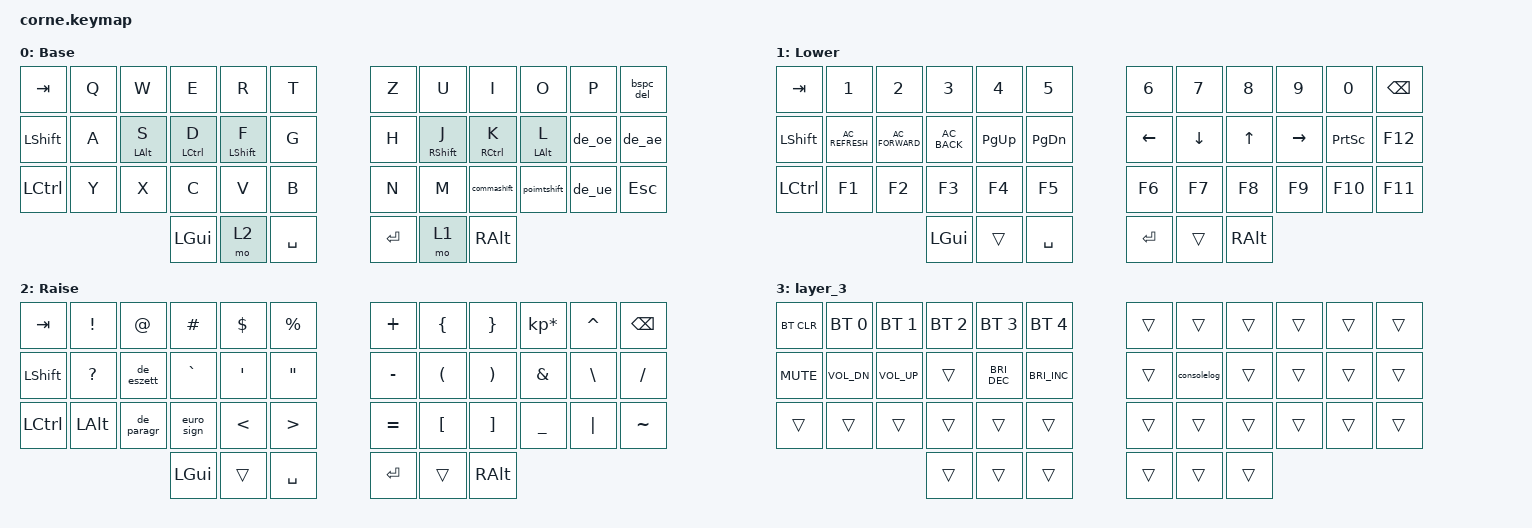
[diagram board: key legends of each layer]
/*
 * Copyright (c) 2020 The ZMK Contributors
 *
 * SPDX-License-Identifier: MIT
 */

#include <behaviors.dtsi>
#include <dt-bindings/zmk/bt.h>
#include <dt-bindings/zmk/keys.h>
#include "../helper.h"
#include "../international_chars/german.dtsi"

// euro sign
ZMK_UNICODE_SINGLE(euro_sign, N2, N0, A, C)  // €


/ {
    combos {
        compatible = "zmk,combos";

        new_combo {
            bindings = <&mo 3>;
            key-positions = <37 40>;
        };
    };

    macros {
        consolelog: consolelog {
            compatible = "zmk,behavior-macro";
            label = "CONSOLELOG";
            #binding-cells = <0>;
            bindings = <&none &kp C &kp O &kp N &kp S &kp O &kp L &kp E &kp DOT &kp L &kp O &kp G &kp LPAR &kp RPAR &kp LEFT>;
        };
    };

    behaviors {
        commashift: comma_shift {
            compatible = "zmk,behavior-mod-morph";
            label = "COMMA_SHIFT";
            #binding-cells = <0>;
            bindings = <&kp COMMA>, <&kp SEMICOLON>;
            mods = <(MOD_LSFT|MOD_RSFT)>;
        };
        poimtshift: point_shift {
            compatible = "zmk,behavior-mod-morph";
            label = "POINT_SHIFT";
            #binding-cells = <0>;
            bindings = <&kp DOT>, <&kp COLON>;
            mods = <(MOD_LSFT|MOD_RSFT)>;
        };
        bspc_del: backspace_delete {
            compatible = "zmk,behavior-mod-morph";
            label = "BACKSPACE_DELETE";
            #binding-cells = <0>;
            bindings = <&kp BACKSPACE>, <&kp DELETE>;
            mods = <(MOD_LSFT|MOD_RSFT)>;
            keep-mods = <(MOD_RSFT)>;
        };
    };

    keymap {
        compatible = "zmk,keymap";

        default_layer {
            // -----------------------------------------------------------------------------------------
            // |  TAB |  Q  |  W  |  E  |  R  |  T  |   |  Z  |  U   |  I  |  O  |  P  | BKSP |
            // | SHFT |  A  |  S  |  D  |  F  |  G  |   |  H  |  J   |  K  |  L  |  Ö  |  Ä   |
            // | CTRL |  Y  |  X  |  C  |  V  |  B  |   |  N  |  M   |  ,  |  .  |  Ü  | ESC  |
            //                    | GUI | LWR | SPC |   | ENT | RSE  | ALT |

            label = "Base";
            bindings = <
         &kp TAB  &kp Q  &kp W              &kp E                 &kp R              &kp T               &kp Z    &kp U          &kp I                  &kp O                 &kp P     &bspc_del
      &kp LSHIFT  &kp A  &mt LEFT_ALT S     &mt LEFT_CONTROL D    &mt LSHIFT F       &kp G               &kp H    &mt RSHIFT J   &mt RIGHT_CONTROL K    &mt LEFT_ALT L        &de_oe    &de_ae
&kp LEFT_CONTROL  &kp Y  &kp X              &kp C                 &kp V              &kp B               &kp N    &kp M          &commashift            &poimtshift           &de_ue    &kp ESC
                                            &kp LGUI              &mo 2              &kp SPACE           &kp RET  &mo 1          &kp RALT
            >;
        };

        lower_layer {
            // -----------------------------------------------------------------------------------------
            // |  TAB |  1  |  2  |  3  |  4  |  5  |   |  6  |  7  |  8  |  9  |  0  | BKSP |
            // | SHFT | BT1 | BT2 | BT3 | BT4 | BT5 |   | LFT | DWN |  UP | RGT | prs | f12  |
            // | CTRL |  f1 |  f2 |  f3 |  f4 |  f5 |   |  f6 |  f7 |  f8 |  f9 | f10 | f11  |
            //                    | GUI |     | SPC |   | ENT |     | ALT |

            label = "Lower";
            bindings = <
         &kp TAB            &kp N1            &kp N2         &kp N3     &kp N4         &kp N5      &kp N6    &kp N7    &kp N8     &kp N9           &kp N0  &kp BSPC
  &kp LEFT_SHIFT  &kp C_AC_REFRESH  &kp C_AC_FORWARD  &kp C_AC_BACK  &kp PG_UP  &kp PAGE_DOWN    &kp LEFT  &kp DOWN    &kp UP  &kp RIGHT  &kp PRINTSCREEN   &kp F12
&kp LEFT_CONTROL            &kp F1            &kp F2         &kp F3     &kp F4         &kp F5      &kp F6    &kp F7    &kp F8     &kp F9          &kp F10   &kp F11
                                                           &kp LGUI     &trans      &kp SPACE     &kp RET    &trans  &kp RALT
            >;
        };

        raise_layer {
            // -----------------------------------------------------------------------------------------
            // |  TAB |  !  |  @  |  #  |  $  |  %  |   |  +  |  {  |  }  |  *  |  ^  | BKSP |
            // | CTRL |  ?  |     |  '  |  '  |  "  |   |  -  |  (  |  )  |  &  |  \  |  /   |
            // | SHFT | ALT |     |  €  |  <  |  >  |   |  =  |  [  |  ]  |  _  | "|" |  ~   |
            //                    | GUI |     | SPC |   | ENT |     | ALT |

            label = "Raise";
            bindings = <
         &kp TAB      &kp EXCL  &kp AT   &kp HASH          &kp DLLR          &kp PRCNT     &kp PLUS    &kp LEFT_BRACE    &kp RIGHT_BRACE  &kp KP_MULTIPLY  &kp CARET   &kp BSPC
  &kp LEFT_SHIFT     &kp QMARK   &de_eszett  &kp GRAVE  &kp SINGLE_QUOTE  &kp DOUBLE_QUOTES    &kp MINUS          &kp LPAR           &kp RPAR    &kp AMPERSAND   &kp BSLH  &kp SLASH
&kp LEFT_CONTROL  &kp LEFT_ALT   &de_paragr      &euro_sign     &kp LESS_THAN   &kp GREATER_THAN    &kp EQUAL  &kp LEFT_BRACKET  &kp RIGHT_BRACKET        &kp UNDER   &kp PIPE  &kp TILDE
                                         &kp LGUI            &trans          &kp SPACE      &kp RET            &trans           &kp RALT
            >;
        };

        layer_3 {
            bindings = <
&bt BT_CLR  &bt BT_SEL 0  &bt BT_SEL 1  &bt BT_SEL 2          &bt BT_SEL 3          &bt BT_SEL 4    &trans       &trans  &trans  &trans  &trans  &trans
&kp K_MUTE  &kp C_VOL_DN  &kp C_VOL_UP        &trans  &kp C_BRIGHTNESS_DEC  &kp C_BRIGHTNESS_INC    &trans  &consolelog  &trans  &trans  &trans  &trans
    &trans        &trans        &trans        &trans                &trans                &trans    &trans       &trans  &trans  &trans  &trans  &trans
                                              &trans                &trans                &trans    &trans       &trans  &trans
            >;
        };
    };
};
